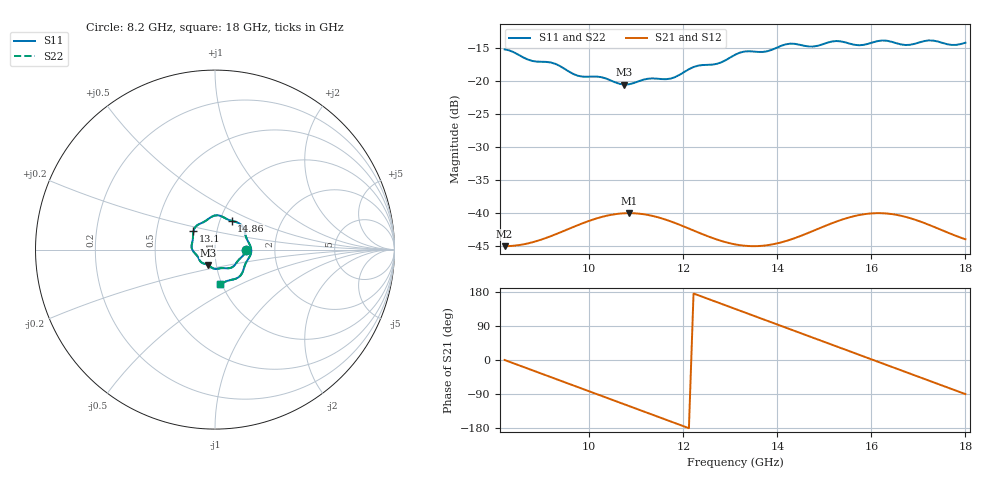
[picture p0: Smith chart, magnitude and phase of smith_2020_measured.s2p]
! Benchmark Measurement Data: Smith et al. (2020) [IEEE TAP]
! Total Thickness d = 2.4 mm, FBW = 48.0%, Rozanov Ratio = 0.582
# Hz S RI R 50
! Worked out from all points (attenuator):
!   101 points, 8.2 GHz to 18 GHz, reference 50 ohm
!   highest |S21| = -40.00 dB at 10.85 GHz (marker M1); lowest = -45.0 dB at 8.2 GHz (marker M2)
!   lowest |S11| = -20.5 dB at 10.75 GHz (marker M3), VSWR 1.21, Z = 45.6 - j7.86 ohm
!   |S11| at or under -10 dB: start of sweep to end of sweep
!   |S22| runs from -20.5 to -13.9 dB; largest |S21 - S12| = 0
!   S11 on the Smith chart (normalised r, x): 8.2 GHz: 1.42, +0.00; 13.1 GHz: 0.77, +0.16; 14.86 GHz: 1.14, +0.38; 18 GHz: 0.98, -0.39
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8.2e9  0.1737 0  0.00562 0  0.00562 0  0.1737 0
8.788e9  0.127 -0.0632  0.00536 -0.00273  0.00536 -0.00273  0.127 -0.0632
9.18e9  0.0992 -0.0962  0.00473 -0.00473  0.00473 -0.00473  0.0992 -0.0962
9.866e9  0.028 -0.1042  0.00196 -0.00817  0.00196 -0.00817  0.028 -0.1042
1.0748e10  -0.0392 -0.0854  -0.00453 -0.00889  -0.00453 -0.00889  -0.0392 -0.0854
1.0846e10  -0.0459 -0.0826  -0.00522 -0.00853  -0.00522 -0.00853  -0.0459 -0.0826
1.1532e10  -0.0896 -0.0518  -0.00815 -0.00415  -0.00815 -0.00415  -0.0896 -0.0518
1.1826e10  -0.1025 -0.031  -0.00819 -0.00197  -0.00819 -0.00197  -0.1025 -0.031
1.2316e10  -0.1302 0.0119  -0.00706 0.00112  -0.00706 0.00112  -0.1302 0.0119
1.2708e10  -0.1242 0.0524  -0.00564 0.00287  -0.00564 0.00287  -0.1242 0.0524
1.31e10  -0.1201 0.1026  -0.0041 0.0041  -0.0041 0.0041  -0.1201 0.1026
1.3884e10  -0.0423 0.167  -0.000906 0.00572  -0.000906 0.00572  -0.0423 0.167
1.4276e10  0.0114 0.1914  0.000985 0.00622  0.000985 0.00622  0.0114 0.1914
1.4766e10  0.0785 0.1648  0.00384 0.00627  0.00384 0.00627  0.0785 0.1648
1.4864e10  0.0922 0.1604  0.00447 0.00615  0.00447 0.00615  0.0922 0.1604
1.5256e10  0.1481 0.1356  0.00698 0.00507  0.00698 0.00507  0.1481 0.1356
1.5746e10  0.1748 0.0651  0.00941 0.00226  0.00941 0.00226  0.1748 0.0651
1.6432e10  0.1948 -0.0359  0.00936 -0.00304  0.00936 -0.00304  0.1948 -0.0359
1.6726e10  0.1715 -0.0752  0.00799 -0.0049  0.00799 -0.0049  0.1715 -0.0752
1.7314e10  0.1297 -0.1553  0.00414 -0.00675  0.00414 -0.00675  0.1297 -0.1553
1.7706e10  0.071 -0.1736  0.00162 -0.00675  0.00162 -0.00675  0.071 -0.1736
1.8e10  0.0305 -0.1926  1.94e-18 -0.00634  1.94e-18 -0.00634  0.0305 -0.1926
